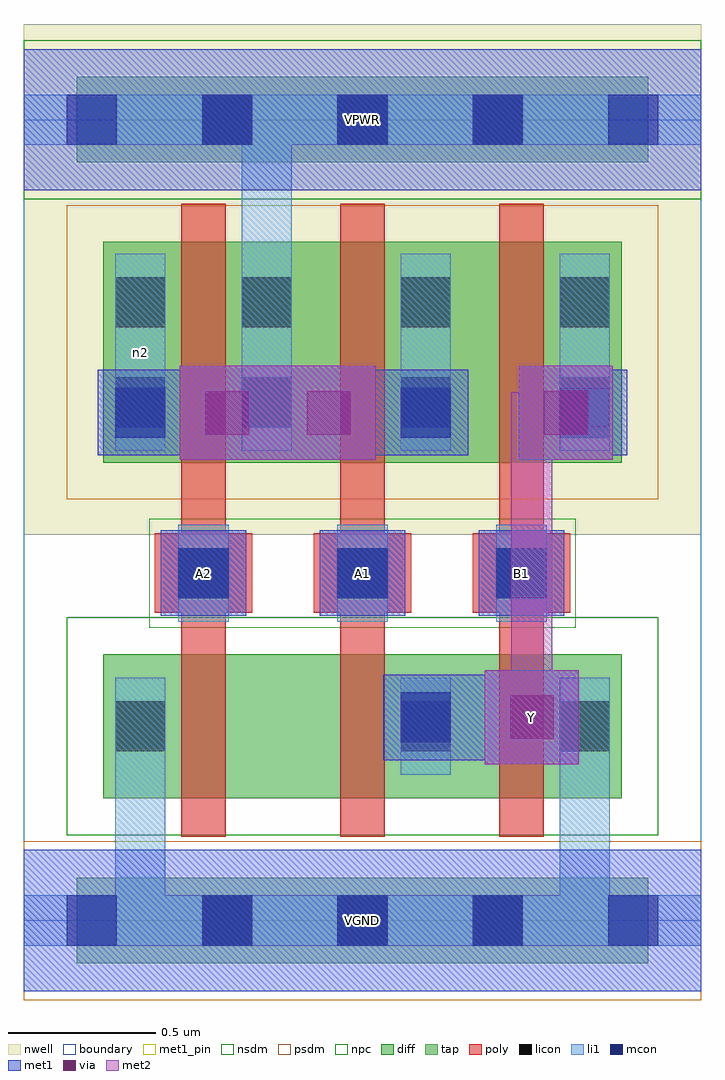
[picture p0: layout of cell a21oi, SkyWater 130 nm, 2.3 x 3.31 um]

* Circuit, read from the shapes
.subckt a21oi A1 A2 B1 VGND VPWR Y n2
XM1 n1 A2 VGND VGND sky130_fd_pr__nfet_01v8 w=0.49 l=0.15
XM2 Y A1 n1 VGND sky130_fd_pr__nfet_01v8 w=0.49 l=0.15
XM3 VGND B1 Y VGND sky130_fd_pr__nfet_01v8 w=0.49 l=0.15
XM4 VPWR A2 n2 VPWR sky130_fd_pr__pfet_01v8 w=0.75 l=0.15
XM5 n2 A1 VPWR VPWR sky130_fd_pr__pfet_01v8 w=0.75 l=0.15
XM6 Y B1 n2 VPWR sky130_fd_pr__pfet_01v8 w=0.75 l=0.15
.ends

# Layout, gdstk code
import gdstk
lib = gdstk.Library(unit=1e-6, precision=1e-09)
def R(c, l, rs):  # rectangles x0, y0, x1, y1
    for r in rs: c.add(gdstk.rectangle(r[:2], r[2:], *l))
def A(c, l, x, y, w, h, nx, ny, dx, dy):  # array of equal rectangles
    R(c, l, [(x+i*dx, y+j*dy, x+i*dx+w, y+j*dy+h) for i in range(nx) for j in range(ny)])
nwell = (64, 20)
diff = (65, 20)
tap = (65, 44)
poly = (66, 20)
licon = (66, 44)
li1 = (67, 20)
mcon = (67, 44)
met1_pin = (68, 16)
met1 = (68, 20)
via = (68, 44)
met2 = (69, 20)
nsdm = (93, 44)
psdm = (94, 20)
npc = (95, 20)
boundary = (235, 4)

a21oi = lib.new_cell('a21oi')
R(a21oi, nwell, [(0,1.31,2.3,3.045)])
R(a21oi, diff, [(0.27,0.415,2.03,0.905), (0.27,1.555,2.03,2.305)])
R(a21oi, tap, [(0.18,-0.145,2.12,0.145), (0.18,2.575,2.12,2.865)])
A(a21oi, poly, 0.535, 0.285, 0.15, 2.15, 3, 1, 0.54, 0)
A(a21oi, poly, 0.445, 1.045, 0.33, 0.27, 3, 1, 0.54, 0)
A(a21oi, licon, 0.605, -0.085, 0.17, 0.17, 3, 2, 0.46, 2.72)
A(a21oi, licon, 0.525, 1.095, 0.17, 0.17, 3, 1, 0.54, 0)
A(a21oi, licon, 0.74, 1.675, 0.17, 0.17, 3, 2, 0.54, 0.34)
R(a21oi, licon, [(0.31,0.575,0.48,0.745), (1.28,0.575,1.45,0.745), (1.82,0.575,1.99,0.745), (0.31,1.675,0.48,1.845), (0.31,2.015,0.48,2.185)])
A(a21oi, li1, 0.525, 1.015, 0.17, 0.33, 3, 1, 0.54, 0)
A(a21oi, li1, 0.74, 1.595, 0.17, 0.67, 3, 1, 0.54, 0)
R(a21oi, li1, [(0,-0.085,2.3,0.085), (0.31,-0.085,0.48,0.825), (1.82,-0.085,1.99,0.825), (0.31,0.495,0.48,0.825), (1.28,0.495,1.45,0.825), (1.82,0.495,1.99,0.825), (0.31,1.595,0.48,2.265), (0.74,1.595,0.91,2.805), (0,2.635,2.3,2.805)])
A(a21oi, mcon, 0.145, -0.085, 0.17, 0.17, 5, 2, 0.46, 2.72)
A(a21oi, mcon, 0.525, 1.095, 0.17, 0.17, 3, 1, 0.54, 0)
R(a21oi, mcon, [(1.28,0.605,1.45,0.775), (0.31,1.64,0.48,1.81), (1.28,1.64,1.45,1.81), (1.82,1.64,1.99,1.81)])
A(a21oi, met1_pin, 0.465, 1.035, 0.29, 0.29, 3, 1, 0.54, 0)
R(a21oi, met1_pin, [(0,-0.24,2.3,0.24), (1.565,0.53,1.885,0.85), (0,2.48,2.3,2.96)])
A(a21oi, met1, 0.465, 1.035, 0.29, 0.29, 3, 1, 0.54, 0)
R(a21oi, met1, [(0,-0.24,2.3,0.24), (1.565,0.53,1.885,0.85), (1.22,0.545,1.51,0.835), (1.51,0.545,1.565,0.835), (1.295,0.62,1.565,0.76), (1.425,0.62,1.795,0.76), (0.53,1.565,0.85,1.885), (0.85,1.565,0.875,1.885), (0.875,1.565,1.195,1.885), (1.68,1.565,2,1.885), (0.25,1.58,0.54,1.87), (1.195,1.58,1.22,1.87), (1.22,1.58,1.51,1.87), (1.76,1.58,2.05,1.87), (0.325,1.655,0.645,1.795), (0.505,1.655,0.76,1.795), (0.76,1.655,0.875,1.795), (0.85,1.655,0.965,1.795), (0.965,1.655,1.335,1.795), (1.195,1.655,1.435,1.795), (1.77,1.655,1.975,1.795), (0,2.48,2.3,2.96)])
R(a21oi, via, [(1.65,0.615,1.8,0.765), (0.615,1.65,0.765,1.8), (0.96,1.65,1.11,1.8), (1.765,1.65,1.915,1.8)])
R(a21oi, met2, [(1.565,0.53,1.885,0.85), (1.655,0.62,1.795,1.795), (0.53,1.565,0.85,1.885), (0.85,1.565,0.875,1.885), (0.875,1.565,1.195,1.885), (1.68,1.565,2,1.885), (0.62,1.655,1.105,1.795), (1.655,1.655,1.91,1.795)])
R(a21oi, nsdm, [(0.145,0.29,2.155,1.03), (0,2.45,2.3,2.99)])
R(a21oi, psdm, [(0,-0.27,2.3,0.27), (0.145,1.43,2.155,2.43)])
R(a21oi, npc, [(0.425,0.995,1.875,1.365)])
R(a21oi, boundary, [(0,0,2.3,2.72)])
a21oi.add(gdstk.Label('n2', (0.395,1.93), layer=67, texttype=5))
a21oi.add(gdstk.Label('A1', (1.15,1.18), layer=68, texttype=5))
a21oi.add(gdstk.Label('A2', (0.61,1.18), layer=68, texttype=5))
a21oi.add(gdstk.Label('B1', (1.69,1.18), layer=68, texttype=5))
a21oi.add(gdstk.Label('Y', (1.725,0.69), layer=68, texttype=5))
a21oi.add(gdstk.Label('VPWR', (1.15,2.72), layer=68, texttype=5))
a21oi.add(gdstk.Label('VGND', (1.15,0), layer=68, texttype=5))
a21oi.add(gdstk.Label('A1', (1.15,1.18), layer=68, texttype=16))
a21oi.add(gdstk.Label('A2', (0.61,1.18), layer=68, texttype=16))
a21oi.add(gdstk.Label('B1', (1.69,1.18), layer=68, texttype=16))
a21oi.add(gdstk.Label('Y', (1.725,0.69), layer=68, texttype=16))
a21oi.add(gdstk.Label('VPWR', (1.15,2.72), layer=68, texttype=16))
a21oi.add(gdstk.Label('VGND', (1.15,0), layer=68, texttype=16))

lib.write_gds('a21oi.gds')
